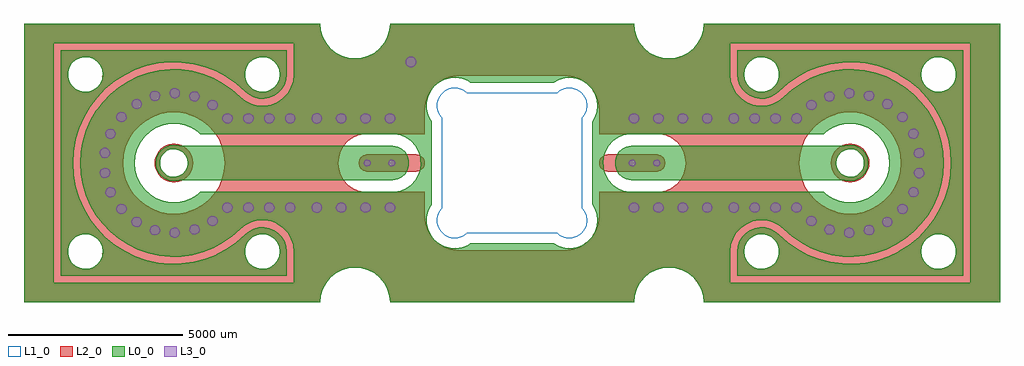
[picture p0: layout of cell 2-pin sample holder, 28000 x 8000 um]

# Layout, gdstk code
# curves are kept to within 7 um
import gdstk
lib = gdstk.Library(unit=1e-6, precision=1e-09)
def P(c, l, *ps):  # polygons
    for p in ps: c.add(gdstk.Polygon(p, *l))
L0_0 = (0, 0)
L1_0 = (1, 0)
L2_0 = (2, 0)
L3_0 = (3, 0)

c_2_pin_sample_holder = lib.new_cell('2-pin sample holder')
P(c_2_pin_sample_holder, L0_0, [(3519,-3805),(3576,-3617),(3669,-3444),(3793,-3293),(3944,-3169),(4117,-3076),(4305,-3019),(4500,-3000),(4695,-3019),(4883,-3076),(5056,-3169),(5207,-3293),(5328,-3440),(6260,-3440),(6260,-2540),(6281,-2349),(6341,-2166),(6440,-2001),(6571,-1860),(6729,-1750),(6906,-1676),(7096,-1642),(7288,-1649),(7475,-1697),(7647,-1783),(8033,-2114),(8293,-2295),(8573,-2445),(8868,-2560),(9175,-2640),(9489,-2684),(9806,-2690),(10121,-2659),(10431,-2591),(10730,-2487),(11015,-2349),(11282,-2178),(11527,-1977),(11747,-1748),(11938,-1496),(12099,-1222),(12226,-932),(12318,-628),(12373,-316),(12392,0),(12373,316),(12318,628),(12226,932),(12099,1222),(11938,1496),(11747,1748),(11527,1977),(11282,2178),(11015,2349),(10730,2487),(10431,2591),(10121,2659),(9806,2690),(9489,2684),(9175,2640),(8868,2560),(8573,2445),(8293,2295),(8033,2114),(7647,1783),(7475,1697),(7288,1649),(7096,1642),(6906,1676),(6729,1750),(6571,1860),(6440,2001),(6341,2166),(6281,2349),(6260,2540),(6260,3440),(13140,3440),(13140,-3440),(5328,-3440),(5424,-3617),(5481,-3805),(5500,-4000),(14000,-4000),(14000,4000),(5500,4000),(5481,3805),(5424,3617),(5331,3444),(5207,3293),(5056,3169),(4883,3076),(4695,3019),(4500,3000),(4305,3019),(4117,3076),(3944,3169),(3793,3293),(3669,3444),(3576,3617),(3519,3805),(3500,4000),(-3500,4000),(-3519,3805),(-3576,3617),(-3669,3444),(-3793,3293),(-3944,3169),(-4117,3076),(-4305,3019),(-4500,3000),(-4695,3019),(-4883,3076),(-5056,3169),(-5207,3293),(-5331,3444),(-5424,3617),(-5481,3805),(-5500,4000),(-14000,4000),(-14000,-3440),(-13140,-3440),(-13140,3440),(-6260,3440),(-6260,2540),(-6281,2349),(-6341,2166),(-6440,2001),(-6571,1860),(-6729,1750),(-6906,1676),(-7096,1642),(-7288,1649),(-7475,1697),(-7647,1783),(-8033,2114),(-8293,2295),(-8573,2445),(-8868,2560),(-9175,2640),(-9489,2684),(-9806,2690),(-10121,2659),(-10431,2591),(-10730,2487),(-11015,2349),(-11282,2178),(-11527,1977),(-11747,1748),(-11890,1560),(-11938,1496),(-12099,1222),(-12226,932),(-12318,628),(-12373,316),(-12392,0),(-10825,0),(-10806,207),(-10749,406),(-10656,592),(-10531,758),(-10378,898),(-10201,1007),(-10008,1082),(-9804,1120),(-9596,1120),(-9392,1082),(-9199,1007),(-9022,898),(-8948,830),(-3363,825),(-3194,789),(-3035,719),(-2895,617),(-2779,488),(-2692,338),(-2638,173),(-2620,0),(-2638,-173),(-2692,-338),(-2779,-488),(-2895,-617),(-3035,-719),(-3194,-789),(-3363,-825),(-8948,-830),(-9022,-898),(-9199,-1007),(-9392,-1082),(-9596,-1120),(-9804,-1120),(-10008,-1082),(-10201,-1007),(-10378,-898),(-10531,-758),(-10656,-592),(-10749,-406),(-10806,-207),(-10825,0),(-12392,0),(-12373,-316),(-12318,-628),(-12226,-932),(-12099,-1222),(-11938,-1496),(-11747,-1748),(-11527,-1977),(-11282,-2178),(-11015,-2349),(-10730,-2487),(-10431,-2591),(-10121,-2659),(-9806,-2690),(-9489,-2684),(-9175,-2640),(-8868,-2560),(-8573,-2445),(-8293,-2295),(-8033,-2114),(-7647,-1783),(-7475,-1697),(-7288,-1649),(-7096,-1642),(-6906,-1676),(-6770,-1733),(-2442,-1733),(-2442,-1560),(-2405,-1391),(-2332,-1234),(-2300,-1192),(-2300,1192),(-2332,1234),(-2405,1391),(-2442,1560),(-2442,1733),(-2405,1902),(-2332,2059),(-2227,2197),(-2095,2309),(-1943,2390),(-1776,2436),(-1603,2445),(-1432,2417),(-1272,2353),(-1194,2300),(1186,2300),(1350,2390),(1517,2436),(1690,2445),(1860,2417),(2021,2353),(2164,2256),(2283,2131),(2373,1982),(2428,1818),(2446,1646),(2428,1474),(2373,1311),(2300,1190),(2300,0),(2620,0),(2638,173),(2692,338),(2779,488),(2895,617),(3035,719),(3194,789),(3363,825),(8948,830),(9022,898),(9199,1007),(9392,1082),(9596,1120),(9804,1120),(10008,1082),(10201,1007),(10378,898),(10531,758),(10656,592),(10749,406),(10806,207),(10825,0),(10806,-207),(10749,-406),(10656,-592),(10531,-758),(10378,-898),(10201,-1007),(10008,-1082),(9804,-1120),(9596,-1120),(9392,-1082),(9199,-1007),(9022,-898),(8948,-830),(3363,-825),(3194,-789),(3035,-719),(2895,-617),(2779,-488),(2692,-338),(2638,-173),(2620,0),(2300,0),(2300,-1190),(2373,-1311),(2428,-1474),(2446,-1646),(2428,-1818),(2373,-1982),(2283,-2131),(2164,-2256),(2021,-2353),(1860,-2417),(1690,-2445),(1517,-2436),(1350,-2390),(1186,-2300),(-1194,-2300),(-1272,-2353),(-1432,-2417),(-1603,-2445),(-1776,-2436),(-1943,-2390),(-2095,-2309),(-2227,-2197),(-2332,-2059),(-2405,-1902),(-2442,-1733),(-6770,-1733),(-6729,-1750),(-6571,-1860),(-6440,-2001),(-6341,-2166),(-6281,-2349),(-6260,-2540),(-6260,-3440),(-14000,-3440),(-14000,-4000),(-5500,-4000),(-5481,-3805),(-5424,-3617),(-5331,-3444),(-5207,-3293),(-5056,-3169),(-4883,-3076),(-4695,-3019),(-4500,-3000),(-4305,-3019),(-4117,-3076),(-3944,-3169),(-3793,-3293),(-3669,-3444),(-3576,-3617),(-3519,-3805),(-3500,-4000),(3500,-4000)],
  [(12940,-3240),(12940,3240),(6460,3240),(6460,2540),(6660,2540),(6679,2675),(6733,2800),(6819,2905),(6930,2984),(7058,3030),(7194,3039),(7327,3011),(7448,2948),(7548,2856),(7619,2739),(7655,2608),(7655,2472),(7619,2341),(7548,2224),(7448,2132),(7327,2069),(7194,2041),(7058,2050),(6930,2096),(6819,2175),(6733,2280),(6679,2405),(6660,2540),(6460,2540),(6476,2391),(6523,2249),(6600,2121),(6702,2011),(6825,1926),(6963,1868),(7110,1842),(7260,1847),(7405,1884),(7538,1951),(7910,2271),(8189,2466),(8489,2626),(8806,2751),(9136,2837),(9473,2883),(9814,2890),(10152,2856),(10485,2784),(10807,2672),(11079,2540),(11740,2540),(11759,2675),(11813,2800),(11899,2905),(12010,2984),(12138,3030),(12274,3039),(12407,3011),(12528,2948),(12628,2856),(12699,2739),(12735,2608),(12735,2472),(12699,2341),(12628,2224),(12528,2132),(12407,2069),(12274,2041),(12138,2050),(12010,2096),(11899,2175),(11813,2280),(11759,2405),(11740,2540),(11079,2540),(11400,2340),(11663,2124),(11899,1878),(12105,1607),(12277,1313),(12413,1001),(12512,675),(12572,340),(12592,0),(12572,-340),(12512,-675),(12413,-1001),(12277,-1313),(12105,-1607),(11899,-1878),(11663,-2124),(11400,-2340),(11078,-2540),(11740,-2540),(11759,-2405),(11813,-2280),(11899,-2175),(12010,-2096),(12138,-2050),(12274,-2041),(12407,-2069),(12528,-2132),(12628,-2224),(12699,-2341),(12735,-2472),(12735,-2608),(12699,-2739),(12628,-2856),(12528,-2948),(12407,-3011),(12274,-3039),(12138,-3030),(12010,-2984),(11899,-2905),(11813,-2800),(11759,-2675),(11740,-2540),(11078,-2540),(10807,-2672),(10485,-2784),(10152,-2856),(9814,-2890),(9473,-2883),(9136,-2837),(8806,-2751),(8489,-2626),(8189,-2466),(7910,-2271),(7538,-1951),(7405,-1884),(7260,-1847),(7110,-1842),(6963,-1868),(6825,-1926),(6702,-2011),(6600,-2121),(6523,-2249),(6476,-2391),(6460,-2540),(6660,-2540),(6679,-2405),(6733,-2280),(6819,-2175),(6930,-2096),(7058,-2050),(7194,-2041),(7327,-2069),(7448,-2132),(7548,-2224),(7619,-2341),(7655,-2472),(7655,-2608),(7619,-2739),(7548,-2856),(7448,-2948),(7327,-3011),(7194,-3039),(7058,-3030),(6930,-2984),(6819,-2905),(6733,-2800),(6679,-2675),(6660,-2540),(6460,-2540),(6460,-3240)],
  [(-10155,-263),(-10071,-371),(-9963,-455),(-9836,-507),(-9700,-525),(-9547,-500),(-3416,-499),(-3283,-471),(-3162,-408),(-3062,-316),(-2991,-199),(-2955,-68),(-2955,68),(-2991,199),(-3062,316),(-3162,408),(-3283,471),(-3416,499),(-9547,500),(-9700,525),(-9836,507),(-9963,455),(-10071,371),(-10155,263),(-10207,136),(-10225,0),(-10217,-60),(-10096,-60),(-10096,60),(-10060,174),(-9993,272),(-9900,346),(-9789,390),(-9670,399),(-9554,372),(-9451,313),(-9370,225),(-9318,118),(-9300,0),(-9318,-118),(-9370,-225),(-9451,-313),(-9554,-372),(-9670,-399),(-9789,-390),(-9900,-346),(-9993,-272),(-10060,-174),(-10096,-60),(-10217,-60),(-10207,-136)],
  [(2991,-199),(3062,-316),(3162,-408),(3283,-471),(3416,-499),(9547,-500),(9700,-525),(9836,-507),(9963,-455),(10071,-371),(10155,-263),(10207,-136),(10225,0),(10207,136),(10155,263),(10071,371),(9963,455),(9836,507),(9700,525),(9547,500),(3450,500),(3283,471),(3162,408),(3062,316),(2991,199),(2955,68),(2955,0),(9300,0),(9318,118),(9370,225),(9451,313),(9554,372),(9670,399),(9789,390),(9900,346),(9993,272),(10060,174),(10096,60),(10096,-60),(10060,-174),(9993,-272),(9900,-346),(9789,-390),(9670,-399),(9554,-372),(9451,-313),(9370,-225),(9318,-118),(9300,0),(2955,0),(2955,-68)],
  [(-8806,-2751),(-9136,-2837),(-9473,-2883),(-9814,-2890),(-10152,-2856),(-10485,-2784),(-10807,-2672),(-11113,-2523),(-11400,-2340),(-11663,-2124),(-11899,-1878),(-12105,-1607),(-12277,-1313),(-12413,-1001),(-12512,-675),(-12572,-340),(-12592,0),(-12572,340),(-12512,675),(-12413,1001),(-12277,1313),(-12105,1607),(-11899,1878),(-11663,2124),(-11400,2340),(-11113,2523),(-10807,2672),(-10485,2784),(-10152,2856),(-9814,2890),(-9473,2883),(-9136,2837),(-8806,2751),(-8489,2626),(-8200,2472),(-7655,2472),(-7655,2608),(-7619,2739),(-7548,2856),(-7448,2948),(-7327,3011),(-7194,3039),(-7058,3030),(-6930,2984),(-6819,2905),(-6733,2800),(-6679,2675),(-6660,2540),(-6679,2405),(-6733,2280),(-6819,2175),(-6930,2096),(-7058,2050),(-7194,2041),(-7327,2069),(-7448,2132),(-7548,2224),(-7619,2341),(-7655,2472),(-8200,2472),(-7910,2271),(-7538,1951),(-7405,1884),(-7260,1847),(-7110,1842),(-6963,1868),(-6825,1926),(-6702,2011),(-6600,2121),(-6523,2249),(-6476,2391),(-6460,2540),(-6460,3240),(-12940,3240),(-12940,2472),(-12735,2472),(-12735,2608),(-12699,2739),(-12628,2856),(-12528,2948),(-12407,3011),(-12274,3039),(-12138,3030),(-12010,2984),(-11899,2905),(-11813,2800),(-11759,2675),(-11740,2540),(-11759,2405),(-11813,2280),(-11899,2175),(-12010,2096),(-12138,2050),(-12274,2041),(-12407,2069),(-12528,2132),(-12628,2224),(-12699,2341),(-12735,2472),(-12940,2472),(-12940,-2608),(-12735,-2608),(-12735,-2472),(-12699,-2341),(-12628,-2224),(-12528,-2132),(-12407,-2069),(-12274,-2041),(-12138,-2050),(-12010,-2096),(-11899,-2175),(-11813,-2280),(-11759,-2405),(-11740,-2540),(-11759,-2675),(-11813,-2800),(-11899,-2905),(-12010,-2984),(-12138,-3030),(-12274,-3039),(-12407,-3011),(-12528,-2948),(-12628,-2856),(-12699,-2739),(-12735,-2608),(-12940,-2608),(-12940,-3240),(-6460,-3240),(-6460,-2540),(-6476,-2391),(-6523,-2249),(-6600,-2121),(-6702,-2011),(-6825,-1926),(-6963,-1868),(-7110,-1842),(-7260,-1847),(-7405,-1884),(-7538,-1951),(-7910,-2271),(-8189,-2466),(-8456,-2608),(-7655,-2608),(-7655,-2472),(-7619,-2341),(-7548,-2224),(-7448,-2132),(-7327,-2069),(-7194,-2041),(-7058,-2050),(-6930,-2096),(-6819,-2175),(-6733,-2280),(-6679,-2405),(-6660,-2540),(-6679,-2675),(-6733,-2800),(-6819,-2905),(-6930,-2984),(-7058,-3030),(-7194,-3039),(-7327,-3011),(-7448,-2948),(-7548,-2856),(-7619,-2739),(-7655,-2608),(-8456,-2608)])
P(c_2_pin_sample_holder, L1_0, [(3519,-3805),(3576,-3617),(3669,-3444),(3793,-3293),(3944,-3169),(4117,-3076),(4305,-3019),(4500,-3000),(4695,-3019),(4883,-3076),(5056,-3169),(5207,-3293),(5331,-3444),(5424,-3617),(5481,-3805),(5500,-4000),(14000,-4000),(14000,4000),(5500,4000),(5481,3805),(5424,3617),(5331,3444),(5207,3293),(5056,3169),(4883,3076),(4695,3019),(4500,3000),(4305,3019),(4117,3076),(3944,3169),(3793,3293),(3669,3444),(3576,3617),(3519,3805),(3500,4000),(-3500,4000),(-3519,3805),(-3576,3617),(-3669,3444),(-3793,3293),(-3944,3169),(-4117,3076),(-4305,3019),(-4500,3000),(-4695,3019),(-4883,3076),(-5056,3169),(-5207,3293),(-5331,3444),(-5424,3617),(-5481,3805),(-5500,4000),(-14000,4000),(-14000,2472),(-12735,2472),(-12735,2608),(-12699,2739),(-12628,2856),(-12528,2948),(-12407,3011),(-12274,3039),(-12138,3030),(-12010,2984),(-11899,2905),(-11813,2800),(-11759,2675),(-11740,2540),(-11750,2472),(-7655,2472),(-7655,2608),(-7619,2739),(-7548,2856),(-7448,2948),(-7327,3011),(-7194,3039),(-7058,3030),(-6930,2984),(-6819,2905),(-6733,2800),(-6679,2675),(-6660,2540),(6660,2540),(6679,2675),(6733,2800),(6819,2905),(6930,2984),(7058,3030),(7194,3039),(7327,3011),(7448,2948),(7548,2856),(7619,2739),(7655,2608),(7655,2540),(11740,2540),(11759,2675),(11813,2800),(11899,2905),(12010,2984),(12138,3030),(12274,3039),(12407,3011),(12528,2948),(12628,2856),(12699,2739),(12735,2608),(12735,2472),(12699,2341),(12628,2224),(12528,2132),(12407,2069),(12274,2041),(12138,2050),(12010,2096),(11899,2175),(11813,2280),(11759,2405),(11740,2540),(7655,2540),(7655,2472),(7619,2341),(7548,2224),(7448,2132),(7327,2069),(7194,2041),(7058,2050),(6930,2096),(6819,2175),(6733,2280),(6679,2405),(6660,2540),(-6660,2540),(-6679,2405),(-6733,2280),(-6819,2175),(-6930,2096),(-7058,2050),(-7194,2041),(-7327,2069),(-7448,2132),(-7548,2224),(-7619,2341),(-7655,2472),(-11750,2472),(-11759,2405),(-11813,2280),(-11899,2175),(-12010,2096),(-12138,2050),(-12274,2041),(-12407,2069),(-12528,2132),(-12628,2224),(-12699,2341),(-12735,2472),(-14000,2472),(-14000,-60),(-10096,-60),(-10096,60),(-10060,174),(-9993,272),(-9900,346),(-9789,390),(-9670,399),(-9554,372),(-9451,313),(-9370,225),(-9318,118),(-9300,0),(-9318,-118),(-9370,-225),(-9451,-313),(-9554,-372),(-9670,-399),(-9789,-390),(-9900,-346),(-9993,-272),(-10060,-174),(-10096,-60),(-14000,-60),(-14000,-1715),(-2142,-1715),(-2142,-1578),(-2105,-1447),(-2034,-1331),(-2000,-1299),(-2000,1299),(-2034,1331),(-2105,1447),(-2142,1578),(-2142,1715),(-2105,1846),(-2034,1962),(-1935,2055),(-1814,2118),(-1681,2145),(-1545,2136),(-1416,2090),(-1295,2000),(1299,2000),(1358,2055),(1479,2118),(1612,2145),(1748,2136),(1876,2090),(1988,2012),(2074,1906),(2128,1781),(2146,1646),(2128,1512),(2074,1387),(2000,1296),(2000,0),(9300,0),(9318,118),(9370,225),(9451,313),(9554,372),(9670,399),(9789,390),(9900,346),(9993,272),(10060,174),(10096,60),(10096,-60),(10060,-174),(9993,-272),(9900,-346),(9789,-390),(9670,-399),(9554,-372),(9451,-313),(9370,-225),(9318,-118),(9300,0),(2000,0),(2000,-1296),(2074,-1387),(2128,-1512),(2146,-1646),(2128,-1781),(2074,-1906),(1988,-2012),(1876,-2090),(1748,-2136),(1612,-2145),(1479,-2118),(1358,-2055),(1299,-2000),(-1295,-2000),(-1416,-2090),(-1545,-2136),(-1681,-2145),(-1814,-2118),(-1935,-2055),(-2034,-1962),(-2105,-1846),(-2142,-1715),(-14000,-1715),(-14000,-2608),(-12735,-2608),(-12735,-2472),(-12699,-2341),(-12628,-2224),(-12528,-2132),(-12407,-2069),(-12274,-2041),(-12138,-2050),(-12010,-2096),(-11899,-2175),(-11813,-2280),(-11759,-2405),(-11740,-2540),(-11750,-2608),(-7655,-2608),(-7655,-2472),(-7619,-2341),(-7548,-2224),(-7448,-2132),(-7327,-2069),(-7194,-2041),(-7058,-2050),(-6930,-2096),(-6819,-2175),(-6733,-2280),(-6679,-2405),(-6660,-2540),(6660,-2540),(6679,-2405),(6733,-2280),(6819,-2175),(6930,-2096),(7058,-2050),(7194,-2041),(7327,-2069),(7448,-2132),(7548,-2224),(7619,-2341),(7655,-2472),(7655,-2540),(11740,-2540),(11759,-2405),(11813,-2280),(11899,-2175),(12010,-2096),(12138,-2050),(12274,-2041),(12407,-2069),(12528,-2132),(12628,-2224),(12699,-2341),(12735,-2472),(12735,-2608),(12699,-2739),(12628,-2856),(12528,-2948),(12407,-3011),(12274,-3039),(12138,-3030),(12010,-2984),(11899,-2905),(11813,-2800),(11759,-2675),(11740,-2540),(7655,-2540),(7655,-2608),(7619,-2739),(7548,-2856),(7448,-2948),(7327,-3011),(7194,-3039),(7058,-3030),(6930,-2984),(6819,-2905),(6733,-2800),(6679,-2675),(6660,-2540),(-6660,-2540),(-6679,-2675),(-6733,-2800),(-6819,-2905),(-6930,-2984),(-7058,-3030),(-7194,-3039),(-7327,-3011),(-7448,-2948),(-7548,-2856),(-7619,-2739),(-7655,-2608),(-11750,-2608),(-11759,-2675),(-11813,-2800),(-11899,-2905),(-12010,-2984),(-12138,-3030),(-12274,-3039),(-12407,-3011),(-12528,-2948),(-12628,-2856),(-12699,-2739),(-12735,-2608),(-14000,-2608),(-14000,-4000),(-5500,-4000),(-5481,-3805),(-5424,-3617),(-5331,-3444),(-5207,-3293),(-5056,-3169),(-4883,-3076),(-4695,-3019),(-4500,-3000),(-4305,-3019),(-4117,-3076),(-3944,-3169),(-3793,-3293),(-3669,-3444),(-3576,-3617),(-3519,-3805),(-3500,-4000),(3500,-4000)])
P(c_2_pin_sample_holder, L2_0, [(-4305,-3019),(-4117,-3076),(-3944,-3169),(-3793,-3293),(-3669,-3444),(-3576,-3617),(-3519,-3805),(-3500,-4000),(3500,-4000),(3519,-3805),(3576,-3617),(3669,-3444),(3793,-3293),(3944,-3169),(4117,-3076),(4305,-3019),(4500,-3000),(4695,-3019),(4883,-3076),(5056,-3169),(5207,-3293),(5331,-3444),(5424,-3617),(5481,-3805),(5500,-4000),(14000,-4000),(14000,4000),(5500,4000),(5481,3805),(5424,3617),(5331,3444),(5207,3293),(5056,3169),(4883,3076),(4695,3019),(4500,3000),(4305,3019),(4117,3076),(3944,3169),(3793,3293),(3669,3444),(3576,3617),(3519,3805),(3500,4000),(-3500,4000),(-3519,3805),(-3576,3617),(-3669,3444),(-3793,3293),(-3944,3169),(-4117,3076),(-4305,3019),(-4500,3000),(-4695,3019),(-4883,3076),(-5056,3169),(-5207,3293),(-5331,3444),(-5424,3617),(-5481,3805),(-5500,4000),(-14000,4000),(-14000,2472),(-12735,2472),(-12735,2608),(-12699,2739),(-12628,2856),(-12528,2948),(-12407,3011),(-12274,3039),(-12138,3030),(-12010,2984),(-11899,2905),(-11813,2800),(-11759,2675),(-11740,2540),(-11750,2472),(-7655,2472),(-7655,2608),(-7619,2739),(-7548,2856),(-7448,2948),(-7327,3011),(-7194,3039),(-7058,3030),(-6930,2984),(-6819,2905),(-6733,2800),(-6679,2675),(-6660,2540),(6660,2540),(6679,2675),(6733,2800),(6819,2905),(6930,2984),(7058,3030),(7194,3039),(7327,3011),(7448,2948),(7548,2856),(7619,2739),(7655,2608),(7655,2540),(11740,2540),(11759,2675),(11813,2800),(11899,2905),(12010,2984),(12138,3030),(12274,3039),(12407,3011),(12528,2948),(12628,2856),(12699,2739),(12735,2608),(12735,2472),(12699,2341),(12628,2224),(12528,2132),(12407,2069),(12274,2041),(12138,2050),(12010,2096),(11899,2175),(11813,2280),(11759,2405),(11740,2540),(7655,2540),(7655,2472),(7619,2341),(7548,2224),(7448,2132),(7327,2069),(7194,2041),(7058,2050),(6930,2096),(6819,2175),(6733,2280),(6679,2405),(6660,2540),(-6660,2540),(-6679,2405),(-6733,2280),(-6819,2175),(-6930,2096),(-7058,2050),(-7194,2041),(-7327,2069),(-7448,2132),(-7548,2224),(-7619,2341),(-7655,2472),(-11750,2472),(-11759,2405),(-11813,2280),(-11899,2175),(-12010,2096),(-12138,2050),(-12274,2041),(-12407,2069),(-12528,2132),(-12628,2224),(-12699,2341),(-12735,2472),(-14000,2472),(-14000,0),(-11155,0),(-11135,239),(-11076,472),(-10980,693),(-10848,894),(-10685,1070),(-10496,1218),(-10284,1332),(-10057,1410),(-9820,1450),(-9580,1450),(-9343,1410),(-9116,1332),(-8904,1218),(-8715,1070),(-8552,894),(-8420,693),(-8324,472),(-8265,239),(-8245,0),(-4980,0),(-4962,173),(-4908,338),(-4821,488),(-4705,617),(-4565,719),(-4406,789),(-4237,825),(-4150,830),(-2500,830),(-2495,1601),(-2480,1701),(-2438,1847),(-2332,2059),(-2227,2197),(-2095,2309),(-1985,2374),(-1847,2438),(-1751,2468),(-1551,2499),(1500,2500),(1701,2480),(1847,2438),(2029,2349),(2164,2256),(2283,2131),(2419,1894),(2480,1701),(2499,1551),(2500,830),(4150,830),(4237,825),(4406,789),(4565,719),(4705,617),(4821,488),(4908,338),(4962,173),(4980,0),(8245,0),(8265,239),(8324,472),(8420,693),(8552,894),(8715,1070),(8904,1218),(9116,1332),(9343,1410),(9580,1450),(9820,1450),(10057,1410),(10284,1332),(10496,1218),(10685,1070),(10848,894),(10980,693),(11076,472),(11135,239),(11155,0),(11135,-239),(11076,-472),(10980,-693),(10848,-894),(10685,-1070),(10496,-1218),(10284,-1332),(10057,-1410),(9820,-1450),(9580,-1450),(9343,-1410),(9116,-1332),(8904,-1218),(8715,-1070),(8552,-894),(8420,-693),(8324,-472),(8265,-239),(8245,0),(4980,0),(4962,-173),(4908,-338),(4821,-488),(4705,-617),(4565,-719),(4406,-789),(4237,-825),(4150,-830),(2500,-830),(2495,-1601),(2480,-1701),(2438,-1847),(2349,-2029),(2283,-2131),(2164,-2256),(2029,-2349),(1940,-2398),(1799,-2454),(1701,-2480),(1551,-2499),(-1500,-2500),(-1701,-2480),(-1847,-2438),(-1940,-2398),(-2095,-2309),(-2227,-2197),(-2332,-2059),(-2419,-1894),(-2480,-1701),(-2499,-1551),(-2500,-830),(-4150,-830),(-4237,-825),(-4406,-789),(-4565,-719),(-4705,-617),(-4821,-488),(-4908,-338),(-4962,-173),(-4980,0),(-8245,0),(-8265,-239),(-8324,-472),(-8420,-693),(-8552,-894),(-8715,-1070),(-8904,-1218),(-9116,-1332),(-9343,-1410),(-9580,-1450),(-9820,-1450),(-10057,-1410),(-10284,-1332),(-10496,-1218),(-10685,-1070),(-10848,-894),(-10980,-693),(-11076,-472),(-11135,-239),(-11155,0),(-14000,0),(-14000,-2608),(-12735,-2608),(-12735,-2472),(-12699,-2341),(-12628,-2224),(-12528,-2132),(-12407,-2069),(-12274,-2041),(-12138,-2050),(-12010,-2096),(-11899,-2175),(-11813,-2280),(-11759,-2405),(-11740,-2540),(-11750,-2608),(-7655,-2608),(-7655,-2472),(-7619,-2341),(-7548,-2224),(-7448,-2132),(-7327,-2069),(-7194,-2041),(-7058,-2050),(-6930,-2096),(-6819,-2175),(-6733,-2280),(-6679,-2405),(-6660,-2540),(6660,-2540),(6679,-2405),(6733,-2280),(6819,-2175),(6930,-2096),(7058,-2050),(7194,-2041),(7327,-2069),(7448,-2132),(7548,-2224),(7619,-2341),(7655,-2472),(7655,-2540),(11740,-2540),(11759,-2405),(11813,-2280),(11899,-2175),(12010,-2096),(12138,-2050),(12274,-2041),(12407,-2069),(12528,-2132),(12628,-2224),(12699,-2341),(12735,-2472),(12735,-2608),(12699,-2739),(12628,-2856),(12528,-2948),(12407,-3011),(12274,-3039),(12138,-3030),(12010,-2984),(11899,-2905),(11813,-2800),(11759,-2675),(11740,-2540),(7655,-2540),(7655,-2608),(7619,-2739),(7548,-2856),(7448,-2948),(7327,-3011),(7194,-3039),(7058,-3030),(6930,-2984),(6819,-2905),(6733,-2800),(6679,-2675),(6660,-2540),(-6660,-2540),(-6679,-2675),(-6733,-2800),(-6819,-2905),(-6930,-2984),(-7058,-3030),(-7194,-3039),(-7327,-3011),(-7448,-2948),(-7548,-2856),(-7619,-2739),(-7655,-2608),(-11750,-2608),(-11759,-2675),(-11813,-2800),(-11899,-2905),(-12010,-2984),(-12138,-3030),(-12274,-3039),(-12407,-3011),(-12528,-2948),(-12628,-2856),(-12699,-2739),(-12735,-2608),(-14000,-2608),(-14000,-4000),(-5500,-4000),(-5481,-3805),(-5424,-3617),(-5331,-3444),(-5207,-3293),(-5056,-3169),(-4883,-3076),(-4695,-3019),(-4500,-3000)],
  [(9180,-179),(9216,-262),(9266,-338),(9327,-405),(9479,-504),(9565,-533),(9655,-548),(9745,-548),(9835,-533),(9921,-504),(10073,-405),(10134,-338),(10184,-262),(10220,-179),(10242,-91),(10250,0),(10242,91),(10220,179),(10184,262),(10134,338),(10073,405),(9921,504),(9835,533),(9745,548),(9655,548),(9565,533),(9479,504),(9327,405),(9266,338),(9216,262),(9180,179),(9158,91),(9150,0),(9300,0),(9318,118),(9370,225),(9451,313),(9554,372),(9670,399),(9789,390),(9900,346),(9993,272),(10060,174),(10096,60),(10096,-60),(10060,-174),(9993,-272),(9900,-346),(9789,-390),(9670,-399),(9554,-372),(9451,-313),(9370,-225),(9318,-118),(9300,0),(9150,0),(9158,-91)],
  [(-10220,-179),(-10184,-262),(-10134,-338),(-10073,-405),(-9921,-504),(-9835,-533),(-9745,-548),(-9655,-548),(-9565,-533),(-9479,-504),(-9327,-405),(-9266,-338),(-9216,-262),(-9180,-179),(-9158,-91),(-9150,0),(-9158,91),(-9180,179),(-9216,262),(-9266,338),(-9327,405),(-9479,504),(-9565,533),(-9655,548),(-9745,548),(-9835,533),(-9921,504),(-10073,405),(-10134,338),(-10184,262),(-10220,179),(-10242,91),(-10244,-60),(-10096,-60),(-10096,60),(-10060,174),(-9993,272),(-9900,346),(-9789,390),(-9670,399),(-9554,372),(-9451,313),(-9370,225),(-9318,118),(-9300,0),(-9318,-118),(-9370,-225),(-9451,-313),(-9554,-372),(-9670,-399),(-9789,-390),(-9900,-346),(-9993,-272),(-10060,-174),(-10096,-60),(-10244,-60)],
  [(4150,-247),(4261,-224),(4335,-168),(4383,-90),(4400,0),(4383,90),(4335,168),(4261,224),(4173,249),(2750,250),(2682,240),(2599,200),(2537,132),(2504,46),(2504,-46),(2537,-132),(2599,-200),(2682,-240),(2750,-250)],
  [(-2750,-247),(-2682,-240),(-2599,-200),(-2537,-132),(-2504,-46),(-2504,46),(-2537,132),(-2599,200),(-2682,240),(-2750,250),(-4173,249),(-4261,224),(-4335,168),(-4383,90),(-4400,0),(-4383,-90),(-4335,-168),(-4261,-224),(-4173,-249)])
P(c_2_pin_sample_holder, L3_0, [(-2886,2751),(-2832,2766),(-2781,2808),(-2754,2865),(-2751,2921),(-2771,2977),(-2808,3019),(-2865,3046),(-2921,3049),(-2977,3029),(-3019,2992),(-3046,2935),(-3049,2879),(-3029,2823),(-2992,2781),(-2935,2754)],
  [(9750,1870),(9802,1920),(9824,1988),(9813,2059),(9769,2116),(9704,2147),(9633,2144),(9571,2108),(9532,2047),(9527,1975),(9555,1909),(9611,1864),(9681,1850)],
  [(-9603,1868),(-9550,1917),(-9526,1984),(-9535,2056),(-9577,2114),(-9641,2146),(-9713,2145),(-9776,2110),(-9816,2051),(-9823,1979),(-9797,1912),(-9742,1866),(-9672,1850)],
  [(10343,1812),(10384,1871),(10393,1942),(10367,2010),(10314,2057),(10244,2075),(10174,2058),(10120,2010),(10095,1943),(10103,1872),(10144,1813),(10207,1779),(10279,1779)],
  [(-10198,1782),(-10137,1819),(-10100,1881),(-10096,1952),(-10126,2018),(-10183,2062),(-10253,2074),(-10322,2053),(-10372,2002),(-10393,1933),(-10380,1863),(-10336,1806),(-10270,1777)],
  [(-9012,1795),(-8969,1853),(-8959,1924),(-8982,1992),(-9035,2041),(-9104,2060),(-9174,2045),(-9229,1999),(-9256,1933),(-9250,1861),(-9211,1801),(-9148,1766),(-9076,1764)],
  [(9157,1769),(9217,1807),(9252,1870),(9255,1942),(9223,2006),(9166,2049),(9095,2060),(9027,2036),(8977,1984),(8958,1915),(8973,1845),(9019,1790),(9085,1762)],
  [(-10684,1567),(-10636,1620),(-10618,1690),(-10634,1759),(-10681,1814),(-10748,1840),(-10819,1832),(-10879,1792),(-10913,1729),(-10914,1657),(-10881,1593),(-10822,1551),(-10751,1542)],
  [(10831,1555),(10887,1600),(10916,1666),(10910,1737),(10873,1798),(10811,1835),(10739,1838),(10674,1808),(10630,1751),(10618,1680),(10640,1612),(10692,1562),(10760,1541)],
  [(8677,1541),(8724,1596),(8740,1666),(8722,1735),(8673,1788),(8606,1813),(8535,1803),(8476,1761),(8444,1697),(8445,1626),(8479,1563),(8539,1523),(8610,1515)],
  [(-8530,1526),(-8473,1569),(-8443,1635),(-8446,1706),(-8482,1768),(-8543,1806),(-8615,1812),(-8681,1783),(-8726,1727),(-8740,1657),(-8719,1588),(-8669,1536),(-8601,1514)],
  [(11292,1197),(11338,1252),(11354,1322),(11335,1391),(11286,1444),(11218,1468),(11147,1457),(11089,1415),(11057,1351),(11059,1279),(11094,1216),(11154,1177),(11226,1170)],
  [(-11146,1180),(-11088,1223),(-11057,1288),(-11060,1359),(-11095,1422),(-11156,1460),(-11227,1467),(-11294,1439),(-11339,1383),(-11354,1313),(-11334,1244),(-11285,1192),(-11217,1169)],
  [(-3447,1140),(-3388,1181),(-3354,1244),(-3354,1316),(-3388,1379),(-3447,1420),(-3518,1429),(-3585,1403),(-3633,1350),(-3650,1280),(-3633,1210),(-3585,1157),(-3518,1131)],
  [(-4147,1140),(-4088,1181),(-4054,1244),(-4054,1316),(-4088,1379),(-4147,1420),(-4218,1429),(-4285,1403),(-4333,1350),(-4350,1280),(-4333,1210),(-4285,1157),(-4218,1131)],
  [(-4847,1140),(-4788,1181),(-4754,1244),(-4754,1316),(-4788,1379),(-4847,1420),(-4918,1429),(-4985,1403),(-5033,1350),(-5050,1280),(-5033,1210),(-4985,1157),(-4918,1131)],
  [(-5565,1138),(-5515,1157),(-5467,1210),(-5454,1244),(-5454,1316),(-5467,1350),(-5515,1403),(-5582,1429),(-5618,1429),(-5685,1403),(-5733,1350),(-5746,1316),(-5746,1244),(-5733,1210),(-5685,1157),(-5618,1131)],
  [(4285,1157),(4333,1210),(4350,1280),(4333,1350),(4285,1403),(4218,1429),(4147,1420),(4088,1379),(4054,1316),(4054,1244),(4088,1181),(4147,1140),(4218,1131)],
  [(4985,1157),(5033,1210),(5050,1280),(5033,1350),(4985,1403),(4918,1429),(4847,1420),(4788,1379),(4754,1316),(4754,1244),(4788,1181),(4847,1140),(4918,1131)],
  [(5685,1157),(5733,1210),(5750,1280),(5733,1350),(5685,1403),(5618,1429),(5547,1420),(5488,1379),(5454,1316),(5454,1244),(5488,1181),(5547,1140),(5618,1131)],
  [(-7478,1157),(-7430,1210),(-7413,1280),(-7430,1350),(-7478,1403),(-7545,1429),(-7616,1420),(-7676,1379),(-7709,1316),(-7709,1244),(-7676,1181),(-7616,1140),(-7545,1131)],
  [(-8078,1157),(-8030,1210),(-8013,1280),(-8030,1350),(-8078,1403),(-8145,1429),(-8216,1420),(-8276,1379),(-8309,1316),(-8309,1244),(-8276,1181),(-8216,1140),(-8145,1131)],
  [(-6878,1157),(-6830,1210),(-6813,1280),(-6830,1350),(-6878,1403),(-6945,1429),(-7016,1420),(-7076,1379),(-7109,1316),(-7109,1244),(-7076,1181),(-7016,1140),(-6945,1131)],
  [(-6278,1157),(-6230,1210),(-6213,1280),(-6230,1350),(-6278,1403),(-6345,1429),(-6416,1420),(-6476,1379),(-6509,1316),(-6509,1244),(-6476,1181),(-6416,1140),(-6345,1131)],
  [(7616,1140),(7676,1181),(7709,1244),(7709,1316),(7676,1379),(7616,1420),(7545,1429),(7478,1403),(7430,1350),(7413,1280),(7430,1210),(7478,1157),(7545,1131)],
  [(7016,1140),(7076,1181),(7109,1244),(7109,1316),(7076,1379),(7016,1420),(6945,1429),(6878,1403),(6830,1350),(6813,1280),(6830,1210),(6878,1157),(6945,1131)],
  [(6398,1138),(6448,1157),(6496,1210),(6509,1244),(6509,1316),(6476,1379),(6448,1403),(6381,1429),(6345,1429),(6278,1403),(6230,1350),(6217,1316),(6217,1244),(6230,1210),(6278,1157),(6345,1131)],
  [(3585,1157),(3633,1210),(3650,1280),(3633,1350),(3585,1403),(3518,1429),(3447,1420),(3388,1379),(3354,1316),(3354,1244),(3388,1181),(3447,1140),(3518,1131)],
  [(8225,1143),(8281,1188),(8311,1253),(8306,1325),(8269,1386),(8208,1423),(8136,1428),(8071,1398),(8026,1341),(8014,1271),(8035,1202),(8086,1152),(8154,1130)],
  [(-11421,721),(-11378,778),(-11367,849),(-11390,917),(-11442,967),(-11511,987),(-11581,973),(-11636,927),(-11664,861),(-11659,789),(-11620,729),(-11558,693),(-11486,690)],
  [(11567,696),(11627,735),(11661,798),(11663,870),(11631,934),(11573,976),(11501,986),(11434,962),(11385,910),(11366,840),(11382,770),(11429,715),(11495,689)],
  [(11756,158),(11807,208),(11829,277),(11817,348),(11773,404),(11707,434),(11636,430),(11574,394),(11536,333),(11532,261),(11561,195),(11617,151),(11687,137)],
  [(-11609,155),(-11555,203),(-11530,270),(-11539,341),(-11581,400),(-11644,433),(-11716,432),(-11780,398),(-11820,339),(-11828,268),(-11802,201),(-11748,154),(-11678,137)],
  [(3492,-91),(3534,-54),(3550,0),(3534,54),(3492,91),(3436,99),(3385,76),(3354,28),(3354,-28),(3385,-76),(3436,-99)],
  [(4192,-91),(4234,-54),(4250,0),(4234,54),(4192,91),(4136,99),(4085,76),(4054,28),(4054,-28),(4085,-76),(4136,-99)],
  [(-3385,-76),(-3354,-28),(-3354,28),(-3385,76),(-3436,99),(-3492,91),(-3534,54),(-3550,0),(-3534,-54),(-3492,-91),(-3436,-99)],
  [(-4085,-76),(-4054,-28),(-4054,28),(-4085,76),(-4136,99),(-4192,91),(-4234,54),(-4250,0),(-4234,-54),(-4192,-91),(-4136,-99)],
  [(-11636,-430),(-11574,-394),(-11536,-333),(-11532,-261),(-11561,-195),(-11617,-151),(-11687,-137),(-11756,-158),(-11807,-208),(-11829,-277),(-11817,-348),(-11773,-404),(-11707,-434)],
  [(11716,-432),(11780,-398),(11820,-339),(11828,-268),(11802,-201),(11748,-154),(11678,-137),(11609,-155),(11555,-203),(11530,-270),(11539,-341),(11581,-400),(11644,-433)],
  [(-11434,-962),(-11385,-910),(-11366,-840),(-11382,-770),(-11429,-715),(-11495,-689),(-11567,-696),(-11627,-735),(-11661,-798),(-11663,-870),(-11631,-934),(-11573,-976),(-11501,-986)],
  [(11581,-973),(11636,-927),(11664,-861),(11659,-789),(11620,-729),(11558,-693),(11486,-690),(11421,-721),(11378,-778),(11367,-849),(11390,-917),(11442,-967),(11511,-987)],
  [(-8071,-1398),(-8026,-1341),(-8014,-1271),(-8035,-1202),(-8086,-1152),(-8154,-1130),(-8225,-1143),(-8281,-1188),(-8311,-1253),(-8306,-1325),(-8269,-1386),(-8208,-1423),(-8136,-1428)],
  [(-6278,-1403),(-6230,-1350),(-6213,-1280),(-6230,-1210),(-6278,-1157),(-6345,-1131),(-6416,-1140),(-6476,-1181),(-6509,-1244),(-6509,-1316),(-6476,-1379),(-6416,-1420),(-6345,-1429)],
  [(5685,-1403),(5733,-1350),(5750,-1280),(5733,-1210),(5685,-1157),(5618,-1131),(5547,-1140),(5488,-1181),(5454,-1244),(5454,-1316),(5488,-1379),(5547,-1420),(5618,-1429)],
  [(-5565,-1422),(-5515,-1403),(-5467,-1350),(-5454,-1316),(-5454,-1244),(-5467,-1210),(-5515,-1157),(-5582,-1131),(-5618,-1131),(-5685,-1157),(-5733,-1210),(-5746,-1244),(-5746,-1316),(-5733,-1350),(-5685,-1403),(-5618,-1429)],
  [(7616,-1420),(7676,-1379),(7709,-1316),(7709,-1244),(7676,-1181),(7616,-1140),(7545,-1131),(7478,-1157),(7430,-1210),(7413,-1280),(7430,-1350),(7478,-1403),(7545,-1429)],
  [(3585,-1403),(3633,-1350),(3650,-1280),(3633,-1210),(3585,-1157),(3518,-1131),(3447,-1140),(3388,-1181),(3354,-1244),(3354,-1316),(3388,-1379),(3447,-1420),(3518,-1429)],
  [(-4147,-1420),(-4088,-1379),(-4054,-1316),(-4054,-1244),(-4088,-1181),(-4147,-1140),(-4218,-1131),(-4285,-1157),(-4333,-1210),(-4350,-1280),(-4333,-1350),(-4285,-1403),(-4218,-1429)],
  [(4985,-1403),(5033,-1350),(5050,-1280),(5033,-1210),(4985,-1157),(4918,-1131),(4847,-1140),(4788,-1181),(4754,-1244),(4754,-1316),(4788,-1379),(4847,-1420),(4918,-1429)],
  [(-4847,-1420),(-4788,-1379),(-4754,-1316),(-4754,-1244),(-4788,-1181),(-4847,-1140),(-4918,-1131),(-4985,-1157),(-5033,-1210),(-5050,-1280),(-5033,-1350),(-4985,-1403),(-4918,-1429)],
  [(-3447,-1420),(-3388,-1379),(-3354,-1316),(-3354,-1244),(-3388,-1181),(-3447,-1140),(-3518,-1131),(-3585,-1157),(-3633,-1210),(-3650,-1280),(-3633,-1350),(-3585,-1403),(-3518,-1429)],
  [(8216,-1420),(8276,-1379),(8309,-1316),(8309,-1244),(8276,-1181),(8216,-1140),(8145,-1131),(8078,-1157),(8030,-1210),(8013,-1280),(8030,-1350),(8078,-1403),(8145,-1429)],
  [(-6878,-1403),(-6830,-1350),(-6813,-1280),(-6830,-1210),(-6878,-1157),(-6945,-1131),(-7016,-1140),(-7076,-1181),(-7109,-1244),(-7109,-1316),(-7076,-1379),(-7016,-1420),(-6945,-1429)],
  [(6398,-1422),(6448,-1403),(6496,-1350),(6509,-1316),(6509,-1244),(6476,-1181),(6448,-1157),(6381,-1131),(6345,-1131),(6278,-1157),(6230,-1210),(6217,-1244),(6217,-1316),(6230,-1350),(6278,-1403),(6345,-1429)],
  [(4285,-1403),(4333,-1350),(4350,-1280),(4333,-1210),(4285,-1157),(4218,-1131),(4147,-1140),(4088,-1181),(4054,-1244),(4054,-1316),(4088,-1379),(4147,-1420),(4218,-1429)],
  [(7016,-1420),(7076,-1379),(7109,-1316),(7109,-1244),(7076,-1181),(7016,-1140),(6945,-1131),(6878,-1157),(6830,-1210),(6813,-1280),(6830,-1350),(6878,-1403),(6945,-1429)],
  [(-7478,-1403),(-7430,-1350),(-7413,-1280),(-7430,-1210),(-7478,-1157),(-7545,-1131),(-7616,-1140),(-7676,-1181),(-7709,-1244),(-7709,-1316),(-7676,-1379),(-7616,-1420),(-7545,-1429)],
  [(11294,-1439),(11339,-1383),(11354,-1313),(11334,-1244),(11285,-1192),(11217,-1169),(11146,-1180),(11088,-1223),(11057,-1288),(11060,-1359),(11095,-1422),(11156,-1460),(11227,-1467)],
  [(-11147,-1457),(-11089,-1415),(-11057,-1351),(-11059,-1279),(-11094,-1216),(-11154,-1177),(-11226,-1170),(-11292,-1197),(-11338,-1252),(-11354,-1322),(-11335,-1391),(-11286,-1444),(-11218,-1468)],
  [(8681,-1783),(8726,-1727),(8740,-1657),(8719,-1588),(8669,-1536),(8601,-1514),(8530,-1526),(8473,-1569),(8443,-1635),(8446,-1706),(8482,-1768),(8543,-1806),(8615,-1812)],
  [(-8535,-1803),(-8476,-1761),(-8444,-1697),(-8445,-1626),(-8479,-1563),(-8539,-1523),(-8610,-1515),(-8677,-1541),(-8724,-1596),(-8740,-1666),(-8722,-1735),(-8673,-1788),(-8606,-1813)],
  [(-10674,-1808),(-10630,-1751),(-10618,-1680),(-10640,-1612),(-10692,-1562),(-10760,-1541),(-10831,-1555),(-10887,-1600),(-10916,-1666),(-10910,-1737),(-10873,-1798),(-10811,-1835),(-10739,-1838)],
  [(10819,-1832),(10879,-1792),(10913,-1729),(10914,-1657),(10881,-1593),(10822,-1551),(10751,-1542),(10684,-1567),(10636,-1620),(10618,-1690),(10634,-1759),(10681,-1814),(10748,-1840)],
  [(-9027,-2036),(-8977,-1984),(-8958,-1915),(-8973,-1845),(-9019,-1790),(-9085,-1762),(-9157,-1769),(-9217,-1807),(-9252,-1870),(-9255,-1942),(-9223,-2006),(-9166,-2049),(-9095,-2060)],
  [(9174,-2045),(9229,-1999),(9256,-1933),(9250,-1861),(9211,-1801),(9148,-1766),(9076,-1764),(9012,-1795),(8969,-1853),(8959,-1924),(8982,-1992),(9035,-2041),(9104,-2060)],
  [(10322,-2053),(10372,-2002),(10393,-1933),(10380,-1863),(10336,-1806),(10270,-1777),(10198,-1782),(10137,-1819),(10100,-1881),(10096,-1952),(10126,-2018),(10183,-2062),(10253,-2074)],
  [(-10174,-2058),(-10120,-2010),(-10095,-1943),(-10103,-1872),(-10144,-1813),(-10207,-1779),(-10279,-1779),(-10343,-1812),(-10384,-1871),(-10393,-1942),(-10367,-2010),(-10314,-2057),(-10244,-2075)],
  [(9713,-2145),(9776,-2110),(9816,-2051),(9823,-1979),(9797,-1912),(9742,-1866),(9672,-1850),(9603,-1868),(9550,-1917),(9526,-1984),(9535,-2056),(9577,-2114),(9641,-2146)],
  [(-9633,-2144),(-9571,-2108),(-9532,-2047),(-9527,-1975),(-9555,-1909),(-9611,-1864),(-9681,-1850),(-9750,-1870),(-9802,-1920),(-9824,-1988),(-9813,-2059),(-9769,-2116),(-9704,-2147)])

lib.write_gds('2-pin_sample_holder.gds')
